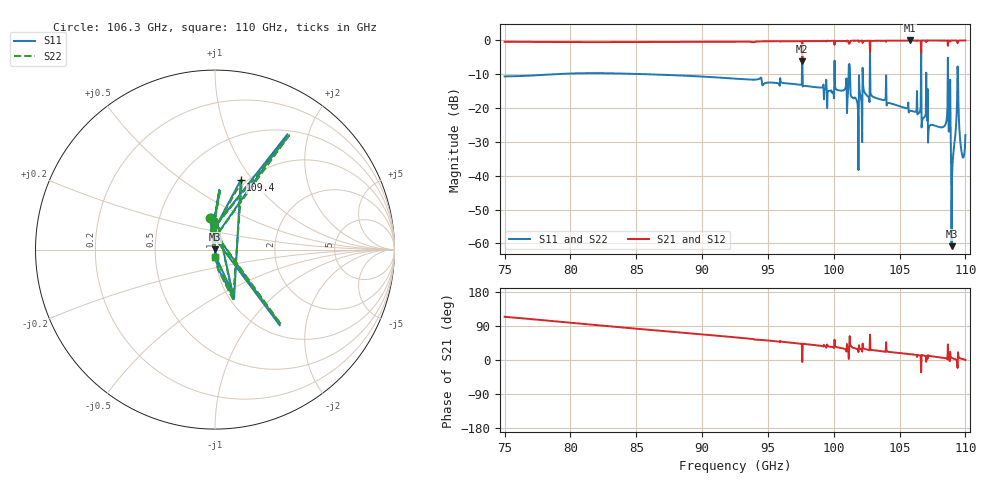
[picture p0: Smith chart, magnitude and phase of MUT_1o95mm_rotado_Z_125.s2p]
! TOUCHSTONE file generated by CST MICROWAVE STUDIO
! Date and time: Fri Feb 16 12:03:50 2024
! Project name: material_rotado.cst
! Parameters = {angX=1.25; angY=0.75}
! Header version: 2018
! Port assignment regex: !\s*Touchstone port\s*([0-9]+)\s*=\s*(CST MWS port|CST DS port)\s*([0-9]+|Zmin|Zmax)\s*\(\"(.*)\"\)(\s*mode\s*([0-9]+))?.*
! Touchstone port assignment:
! Touchstone port 1 = CST MWS port 1 ("")
! Touchstone port 2 = CST MWS port 2 ("")
# GHz S MA R 376.7
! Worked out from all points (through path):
!   1001 points, 75 GHz to 110 GHz, reference 376.7 ohm
!   highest |S21| = 0.00 dB at 105.8 GHz (marker M1); lowest = -6.2 dB at 97.61 GHz (marker M2)
!   lowest |S11| = -60.8 dB at 109 GHz (marker M3), VSWR 1.00, Z = 377 + j0.681 ohm
!   |S11| at or under -10 dB: start of sweep to 78.76 GHz; 85.86 GHz to 97.58 GHz (11.72 GHz wide, 12.8 % of centre); 102.8 GHz to 106.6 GHz (3.849 GHz wide, 3.68 % of centre)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
!   |S22| runs from -60.9 to -1.2 dB; largest |S21 - S12| = 0
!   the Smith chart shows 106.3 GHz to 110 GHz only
!   S11 on the Smith chart (normalised r, x): 106.3 GHz: 0.90, +0.33; 109.4 GHz: 0.94, +0.88; 110 GHz: 1.00, -0.08
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75  0.2938 -156.0  0.9559 114.0  0.9559 114.0  0.2938 -156.0
80.845  0.3276 -174.6  0.9448 95.3  0.9448 95.3  0.3277 -174.6
86.69  0.3123 167.8  0.9504 77.6  0.9504 77.6  0.3121 167.8
92.5  0.2726 149.9  0.9621 59.9  0.9621 59.9  0.2726 149.9
97.61  0.871 81.6  0.4913 -5.3  0.4913 -5.3  0.871 87.7
98.345  0.2068 130.2  0.9784 40.2  0.9784 40.2  0.2068 130.1
101.075  0.1649 115.4  0.9863 25.7  0.9863 25.7  0.1649 116.1
101.705  0.1355 120.0  0.9907 29.9  0.9907 29.9  0.1353 120.0
102.37  0.1667 119.5  0.986 29.0  0.986 29.0  0.167 119.1
104.19  0.1186 111.5  0.9929 21.4  0.9929 21.4  0.1188 111.3
105.8  0.09147 105.5  1 15.1  1 15.1  0.09144 105.5
106.325  0.1786 97.5  0.9839 8.0  0.9839 8.0  0.1786 98.5
106.955  0.07725 101.1  0.997 10.9  0.997 10.9  0.07726 100.7
107.34  0.05601 100.3  0.9984 10.3  0.9984 10.3  0.05603 100.3
108.18  0.05182 96.6  0.9987 6.6  0.9987 6.6  0.05182 96.5
108.67  0.5559 -49.5  0.8312 41.0  0.8312 41.0  0.5559 -48.6
108.95  0.0009076 84.4  1 5.8  1 5.8  0.0009037 108.1
109.09  0.02206 93.8  0.9998 3.9  0.9998 3.9  0.02209 93.9
109.265  0.04704 91.8  0.9989 1.6  0.9989 1.6  0.04712 91.4
109.405  0.4125 69.7  0.911 -20.8  0.911 -20.8  0.4125 68.7
109.755  0.02015 -82.2  0.9998 2.8  0.9998 2.8  0.01983 -87.6
110  0.03988 -88.5  0.9992 0.0  0.9992 0.0  0.03988 -91.5
